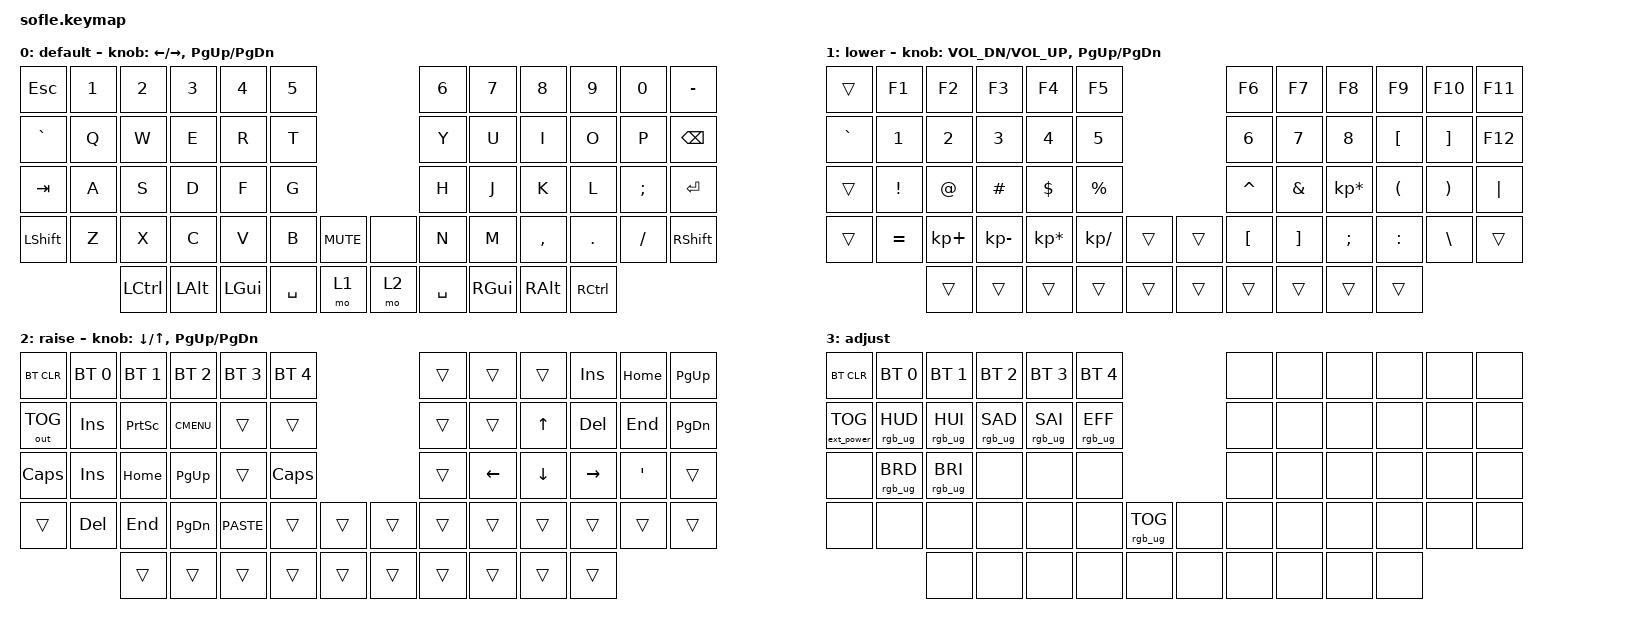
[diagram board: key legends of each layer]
/*
 * Copyright (c) 2020 The ZMK Contributors
 *
 * SPDX-License-Identifier: MIT
 */

#include <behaviors.dtsi>
#include <dt-bindings/zmk/keys.h>
#include <dt-bindings/zmk/bt.h>
#include <dt-bindings/zmk/rgb.h>
#include <dt-bindings/zmk/ext_power.h>
#include <dt-bindings/zmk/outputs.h>

#define BASE 0
#define LOWER 1
#define RAISE 2
#define ADJUST 3

/ {

   // Activate ADJUST layer by pressing raise and lower
    conditional_layers {
        compatible = "zmk,conditional-layers";
        adjust_layer {
            if-layers = <LOWER RAISE>;
            then-layer = <ADJUST>;
        };
    };

    keymap {
        compatible = "zmk,keymap";

        default_layer {
            display-name = "default";
// ------------------------------------------------------------------------------------------------------------
// |  ESC  |  1  |  2  |  3   |  4   |  5   |                   |  6    |  7    |  8    |  9   |   0   |   -   |
// |  `    |  Q  |  W  |  E   |  R   |  T   |                   |  Y    |  U    |  I    |  O   |   P   | BKSPC |
// |  TAB  |  A  |  S  |  D   |  F   |  G   |                   |  H    |  J    |  K    |  L   |   ;   |  RET  |
// | SHIFT |  Z  |  X  |  C   |  V   |  B   |  MUTE  |  |       |  N    |  M    |  ,    |  .   |   /   | SHIFT |
//               | CTRL | ALT  | GUI | SPACE|  LOWER |  | RAISE | SPACE | GUI   | ALT   | CTRL |
            bindings = <
&kp ESC    &kp N1 &kp N2   &kp N3   &kp N4    &kp N5                      &kp N6    &kp N7    &kp N8    &kp N9   &kp N0   &kp MINUS
&kp GRAVE  &kp Q  &kp W    &kp E    &kp R     &kp T                       &kp Y     &kp U     &kp I     &kp O    &kp P    &kp BSPC
&kp TAB    &kp A  &kp S    &kp D    &kp F     &kp G                       &kp H     &kp J     &kp K     &kp L    &kp SEMI &kp RET
&kp LSHFT  &kp Z  &kp X    &kp C    &kp V     &kp B     &kp C_MUTE &none  &kp N     &kp M     &kp COMMA &kp DOT  &kp FSLH &kp RSHFT
                 &kp LCTRL &kp LALT &kp LGUI  &kp SPACE &mo 1      &mo 2  &kp SPACE &kp RGUI  &kp RALT  &kp RCTRL
            >;

            sensor-bindings = <&inc_dec_kp LEFT RIGHT &inc_dec_kp PG_UP PG_DN>;
        };

        lower_layer {
            display-name = "lower";
// TODO: Some binds are waiting for shifted keycode support.
// ------------------------------------------------------------------------------------------------------------
// |       |  F1 |  F2 |  F3  |  F4  |  F5  |                   |  F6  |  F7   |  F8   |  F9  |  F10  |  F11  |
// |   `   |  1  |  2  |  3   |  4   |  5   |                   |  6   |  7    |  8    |  [   |   ]   |  F12  |
// |       |  !  |  @  |  #   |  $   |  %   |                   |  ^   |  &    |  *    |  (   |   )   |   |   |
// |       |  =  |  -  |  +   |  {   |  }   |        |  |       |  [   |  ]    |  ;    |  :   |   \   |       |
//               |     |      |      |      |        |  |       |      |       |       |      |
            bindings = <
&trans    &kp F1    &kp F2    &kp F3      &kp F4    &kp F5                    &kp F6    &kp F7   &kp F8          &kp F9    &kp F10   &kp F11
&kp GRAVE &kp N1    &kp N2    &kp N3      &kp N4    &kp N5                    &kp N6    &kp N7   &kp N8          &kp LBKT  &kp RBKT  &kp F12
&trans    &kp EXCL  &kp AT    &kp HASH    &kp DLLR  &kp PRCNT                 &kp CARET &kp AMPS &kp KP_MULTIPLY &kp LPAR  &kp RPAR  &kp PIPE
&trans    &kp EQUAL &kp KP_PLUS &kp KP_MINUS &kp KP_MULTIPLY  &kp KP_DIVIDE   &trans &trans  &kp LBKT  &kp RBKT &kp SEMI        &kp COLON &kp BSLH  &trans
                    &trans    &trans      &trans    &trans     &trans &trans  &trans    &trans   &trans          &trans
            >;

            sensor-bindings = <&inc_dec_kp C_VOL_DN C_VOL_UP &inc_dec_kp PG_UP PG_DN>;
        };

        raise_layer {
            display-name = "raise";
// ------------------------------------------------------------------------------------------------------------
// |BTCLR| BT1  | BT2  |  BT3  |  BT4  |  BT5 |                |      |      |       | INS  | HOME  | PG_UP |
// |     | INS  | PSCR | GUI   |       |      |                |      |      |   ^   | DEL  |  END  | PG_DN |
// | CAPS| INS  | HOME | PG_UP |       | CAPS |                |      |   <- |   v   |  ->  |   '   | ..... |
// |     | DEL  | END  | PG_DN | PASTE |      |      |  |      |      |      |       |      |       |       |
//              |      |       |       |      |      |  |      |      |      |       |      |
            bindings = <
&bt BT_CLR   &bt BT_SEL 0 &bt BT_SEL 1 &bt BT_SEL 2 &bt BT_SEL 3 &bt BT_SEL 4             &trans    &trans    &trans   &kp INS   &kp HOME &kp PG_UP
&out OUT_TOG &kp INS      &kp PSCRN    &kp K_CMENU  &trans       &trans                   &trans    &trans    &kp UP   &kp DEL   &kp END  &kp PG_DN
&kp CLCK     &kp INS      &kp HOME     &kp PG_UP    &trans       &kp CLCK                 &trans    &kp LEFT  &kp DOWN &kp RIGHT &kp SQT  &trans
&trans       &kp DEL      &kp END      &kp PG_DN    &kp K_PASTE  &trans  &trans   &trans  &trans    &trans    &trans   &trans    &trans   &trans
                        &trans       &trans       &trans       &trans  &trans   &trans  &trans    &trans    &trans   &trans
            >;

            sensor-bindings = <&inc_dec_kp DOWN UP &inc_dec_kp PG_UP PG_DN>;
        };

        adjust_layer {
// ----------------------------------------------------------------------------------------------------------------------------
// | BTCLR  |  BT1    |  BT2    |   BT3   |   BT4   |   BT5   |                  |      |      |       |      |       |       |
// | EXTPWR | RGB_HUD | RGB_HUI | RGB_SAD | RGB_SAI | RGB_EFF |                  |      |      |       |      |       |       |
// |        | RGB_BRD | RGB_BRI |         |         |         |                  |      |      |       |      |       |       |
// |        |         |         |         |         |         | RGB_TOG | |      |      |      |       |      |       |       |
//                    |         |         |         |         |         | |      |      |      |       |      |
            display-name = "adjust";
            bindings = <
&bt BT_CLR        &bt BT_SEL 0    &bt BT_SEL 1    &bt BT_SEL 2    &bt BT_SEL 3    &bt BT_SEL 4                            &none &none &none &none &none &none
&ext_power EP_TOG &rgb_ug RGB_HUD &rgb_ug RGB_HUI &rgb_ug RGB_SAD &rgb_ug RGB_SAI &rgb_ug RGB_EFF                         &none &none &none &none &none &none
&none             &rgb_ug RGB_BRD &rgb_ug RGB_BRI &none           &none           &none                                   &none &none &none &none &none &none
&none             &none           &none           &none           &none           &none            &rgb_ug RGB_TOG &none  &none &none &none &none &none &none
                                  &none           &none           &none           &none            &none           &none  &none &none &none &none
            >;
        };

    };
};
